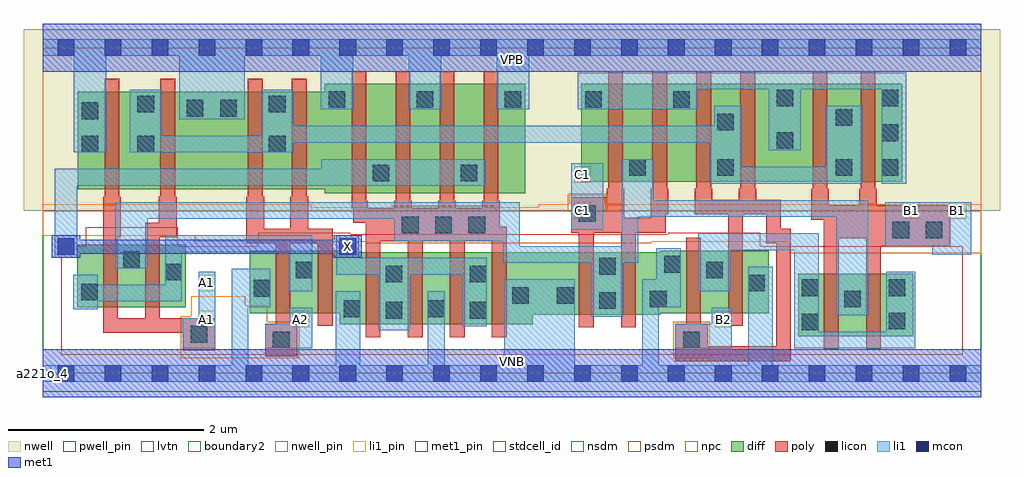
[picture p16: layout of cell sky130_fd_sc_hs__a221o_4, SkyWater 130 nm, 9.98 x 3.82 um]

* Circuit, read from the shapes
.subckt sky130_fd_sc_hs__a221o_4 A1 A2 B1 B2 C1 VGND VNB VPB VPWR X
XM1 n1 A1 n2 VNB sky130_fd_pr__nfet_01v8_lvt w=0.64 l=0.15 m=2
XM2 n2 A2 VGND VNB sky130_fd_pr__nfet_01v8_lvt w=0.64 l=0.15 m=2
XM3 X n1 VGND VNB sky130_fd_pr__nfet_01v8_lvt w=0.74 l=0.15 m=4
XM4 n1 C1 VGND VNB sky130_fd_pr__nfet_01v8_lvt w=0.64 l=0.15 m=2
XM5 n3 B2 VGND VNB sky130_fd_pr__nfet_01v8_lvt w=0.64 l=0.15 m=2
XM6 n1 B1 n3 VNB sky130_fd_pr__nfet_01v8_lvt w=0.64 l=0.15 m=2
XM7 n4 A1 VPWR VPB sky130_fd_pr__pfet_01v8 w=1 l=0.15 m=2
XM8 n4 A2 VPWR VPB sky130_fd_pr__pfet_01v8 w=1 l=0.15 m=2
XM9 X n1 VPWR VPB sky130_fd_pr__pfet_01v8 w=1.12 l=0.15 m=4
XM10 n1 C1 n5 VPB sky130_fd_pr__pfet_01v8 w=1 l=0.15 m=2
XM11 n4 B2 n5 VPB sky130_fd_pr__pfet_01v8 w=1 l=0.15 m=2
XM12 n4 B1 n5 VPB sky130_fd_pr__pfet_01v8 w=1 l=0.15 m=2
.ends

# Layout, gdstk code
import gdstk
lib = gdstk.Library(unit=1e-6, precision=1e-09)
def R(c, l, rs):  # rectangles x0, y0, x1, y1
    for r in rs: c.add(gdstk.rectangle(r[:2], r[2:], *l))
def A(c, l, x, y, w, h, nx, ny, dx, dy):  # array of equal rectangles
    R(c, l, [(x+i*dx, y+j*dy, x+i*dx+w, y+j*dy+h) for i in range(nx) for j in range(ny)])
def P(c, l, *ps):  # polygons
    for p in ps: c.add(gdstk.Polygon(p, *l))
nwell_pin = (64, 16)
nwell = (64, 20)
diff = (65, 20)
poly = (66, 20)
licon = (66, 44)
li1_pin = (67, 16)
li1 = (67, 20)
mcon = (67, 44)
met1_pin = (68, 16)
met1 = (68, 20)
stdcell_id = (81, 4)
nsdm = (93, 44)
psdm = (94, 20)
npc = (95, 20)
pwell_pin = (122, 16)
lvtn = (125, 44)
boundary2 = (236, 0)

sky130_fd_sc_hs__a221o_4 = lib.new_cell('sky130_fd_sc_hs__a221o_4')
R(sky130_fd_sc_hs__a221o_4, nwell_pin, [(0,3.085,9.6,3.33)])
R(sky130_fd_sc_hs__a221o_4, nwell, [(-0.19,1.66,9.79,3.52)])
R(sky130_fd_sc_hs__a221o_4, diff, [(7.725,0.38,8.905,1.02), (0.355,0.675,1.465,1.315), (5.51,1.96,8.79,2.96)])
P(sky130_fd_sc_hs__a221o_4, diff, [(4.935,2.96),(2.885,2.96),(2.885,2.88),(0.36,2.88),(0.36,1.88),(2.885,1.88),(2.885,1.84),(4.935,1.84)],
  [(7.425,1.255),(6.315,1.255),(6.315,1.24),(3.215,1.24),(3.215,1.255),(2.12,1.255),(2.12,0.615),(3.04,0.615),(3.04,0.5),(5.01,0.5),(5.01,0.6),(6.315,0.6),(6.315,0.615),(7.425,0.615)])
P(sky130_fd_sc_hs__a221o_4, poly, [(1.765,0.565),(1.2,0.565),(1.2,1.39),(1.37,1.39),(1.37,1.805),(1.355,1.805),(1.355,3.01),(1.205,3.01),(1.205,1.805),(1.19,1.805),(1.19,1.54),(1.05,1.54),(1.05,0.565),(0.77,0.565),(0.77,1.39),(0.8,1.39),(0.8,1.805),(0.785,1.805),(0.785,3.01),(0.635,3.01),(0.635,1.805),(0.62,1.805),(0.62,0.415),(1.435,0.415),(1.435,0.235),(1.765,0.235)],
  [(2.965,1.48),(2.715,1.48),(2.715,1.805),(2.7,1.805),(2.7,3.01),(2.55,3.01),(2.55,1.805),(2.535,1.805),(2.535,1.48),(2.265,1.48),(2.265,1.805),(2.25,1.805),(2.25,3.01),(2.1,3.01),(2.1,1.805),(2.085,1.805),(2.085,1.33),(2.385,1.33),(2.385,0.505),(2.275,0.505),(2.275,0.175),(2.605,0.175),(2.605,0.505),(2.535,0.505),(2.535,1.33),(2.815,1.33),(2.815,0.485),(2.965,0.485)],
  [(9.28,1.72),(8.53,1.72),(8.53,1.885),(8.515,1.885),(8.515,3.09),(8.365,3.09),(8.365,1.885),(8.35,1.885),(8.35,1.72),(8.04,1.72),(8.04,1.885),(8.025,1.885),(8.025,3.09),(7.875,3.09),(7.875,1.885),(7.86,1.885),(7.86,1.57),(7.99,1.57),(7.99,0.25),(8.14,0.25),(8.14,1.38),(8.42,1.38),(8.42,0.25),(8.57,0.25),(8.57,1.3),(9.28,1.3)],
  [(7.65,1.48),(7.55,1.48),(7.55,1.775),(7.3,1.775),(7.3,1.885),(7.285,1.885),(7.285,3.09),(7.135,3.09),(7.135,1.885),(7.12,1.885),(7.12,1.775),(6.85,1.775),(6.85,1.885),(6.835,1.885),(6.835,3.09),(6.685,3.09),(6.685,1.885),(6.67,1.885),(6.67,1.625),(7.01,1.625),(7.01,0.485),(7.16,0.485),(7.16,1.625),(7.4,1.625),(7.4,1.33),(7.5,1.33),(7.5,0.275),(6.8,0.275),(6.8,0.505),(6.73,0.505),(6.73,1.385),(6.58,1.385),(6.58,0.505),(6.47,0.505),(6.47,0.125),(7.65,0.125)],
  [(6.4,1.885),(6.385,1.885),(6.385,3.09),(6.235,3.09),(6.235,1.885),(6.22,1.885),(6.22,1.59),(5.95,1.59),(5.95,1.885),(5.935,1.885),(5.935,3.09),(5.785,3.09),(5.785,1.885),(5.77,1.885),(5.77,1.8),(5.405,1.8),(5.405,1.44),(5.485,1.44),(5.485,0.47),(5.635,0.47),(5.635,1.44),(5.915,1.44),(5.915,0.47),(6.065,0.47),(6.065,1.44),(6.37,1.44),(6.37,1.625),(6.4,1.625)],
  [(4.745,1.5),(4.675,1.5),(4.675,1.765),(4.66,1.765),(4.66,3.09),(4.51,3.09),(4.51,1.765),(4.495,1.765),(4.495,1.69),(4.225,1.69),(4.225,1.765),(4.21,1.765),(4.21,3.09),(4.06,3.09),(4.06,1.765),(4.045,1.765),(4.045,1.69),(3.775,1.69),(3.775,1.765),(3.76,1.765),(3.76,3.09),(3.61,3.09),(3.61,1.765),(3.595,1.765),(3.595,1.69),(3.325,1.69),(3.325,1.765),(3.31,1.765),(3.31,3.09),(3.16,3.09),(3.16,1.69),(3.175,1.69),(3.175,1.54),(3.305,1.54),(3.305,0.37),(3.455,0.37),(3.455,1.35),(3.735,1.35),(3.735,0.37),(3.885,0.37),(3.885,1.35),(4.165,1.35),(4.165,0.37),(4.315,0.37),(4.315,1.35),(4.595,1.35),(4.595,0.37),(4.745,0.37)])
A(sky130_fd_sc_hs__a221o_4, licon, 3.675, 1.43, 0.17, 0.17, 3, 1, 0.34, 0)
A(sky130_fd_sc_hs__a221o_4, licon, 8.58, 2.02, 0.17, 0.17, 1, 3, 0, 0.355)
A(sky130_fd_sc_hs__a221o_4, licon, 2.925, 2.715, 0.17, 0.17, 3, 1, 0.9, 0)
R(sky130_fd_sc_hs__a221o_4, licon, [(2.355,0.255,2.525,0.425), (6.55,0.255,6.72,0.425), (1.515,0.315,1.685,0.485), (7.765,0.44,7.935,0.61), (8.65,0.45,8.82,0.62), (3.51,0.56,3.68,0.73), (4.37,0.56,4.54,0.73), (3.08,0.575,3.25,0.745), (3.94,0.575,4.11,0.745), (5.69,0.66,5.86,0.83), (6.21,0.675,6.38,0.845), (8.195,0.675,8.365,0.845), (4.8,0.71,4.97,0.88), (5.26,0.71,5.43,0.88), (0.395,0.745,0.565,0.915), (2.16,0.785,2.33,0.955), (7.765,0.79,7.935,0.96), (8.65,0.79,8.82,0.96), (7.215,0.84,7.385,1.01), (3.51,0.93,3.68,1.1), (4.37,0.93,4.54,1.1), (1.255,0.95,1.425,1.12), (2.59,0.97,2.76,1.14), (6.785,0.97,6.955,1.14), (5.69,1.01,5.86,1.18), (6.355,1.03,6.525,1.2), (0.825,1.08,0.995,1.25), (8.69,1.38,8.86,1.55), (9.03,1.38,9.2,1.55), (5.485,1.55,5.655,1.72), (3.375,1.965,3.545,2.135), (4.275,1.965,4.445,2.135), (6,2.02,6.17,2.19), (6.9,2.02,7.07,2.19), (8.11,2.02,8.28,2.19), (0.4,2.26,0.57,2.43), (0.97,2.26,1.14,2.43), (2.315,2.26,2.485,2.43), (7.505,2.295,7.675,2.465), (6.9,2.485,7.07,2.655), (8.11,2.53,8.28,2.7), (0.4,2.6,0.57,2.77), (1.475,2.625,1.645,2.795), (1.815,2.625,1.985,2.795), (0.97,2.67,1.14,2.84), (2.315,2.67,2.485,2.84), (5.55,2.715,5.72,2.885), (6.45,2.715,6.62,2.885), (7.505,2.73,7.675,2.9)])
R(sky130_fd_sc_hs__a221o_4, li1_pin, [(1.595,0.47,1.765,0.64), (2.555,0.47,2.725,0.64), (6.875,0.47,7.045,0.64), (1.595,0.84,1.765,1.01), (5.435,1.58,5.605,1.75), (8.795,1.58,8.965,1.75), (9.275,1.58,9.445,1.75), (5.435,1.95,5.605,2.12)])
R(sky130_fd_sc_hs__a221o_4, li1, [(5.405,1.47,5.735,2.15)])
P(sky130_fd_sc_hs__a221o_4, li1, [(0.32,2.26),(0.32,3.245),(0,3.245),(0,3.415),(9.6,3.415),(9.6,3.245),(4.975,3.245),(4.975,2.7),(4.645,2.7),(4.645,3.245),(4.075,3.245),(4.075,2.7),(3.745,2.7),(3.745,3.245),(3.175,3.245),(3.175,2.7),(2.845,2.7),(2.845,3.245),(2.065,3.245),(2.065,2.6),(1.395,2.6),(1.395,3.245),(0.65,3.245),(0.65,2.26)],
  [(6.13,0.085),(6.13,0.96),(6.275,0.96),(6.275,1.28),(6.525,1.28),(6.525,0.675),(6.3,0.675),(6.3,0.085),(7.215,0.085),(7.215,1.09),(7.465,1.09),(7.465,0.085),(9.6,0.085),(9.6,-0.085),(0,-0.085),(0,0.085),(1.935,0.085),(1.935,1.07),(2.33,1.07),(2.33,0.675),(2.105,0.675),(2.105,0.085),(3,0.085),(3,0.84),(3.25,0.84),(3.25,0.085),(3.94,0.085),(3.94,0.84),(4.11,0.84),(4.11,0.085),(4.72,0.085),(4.72,0.96),(5.44,0.96),(5.44,0.085)],
  [(3.43,0.44),(3.43,1.01),(3.005,1.01),(3.005,1.41),(3.235,1.41),(3.235,1.18),(4.54,1.18),(4.54,0.48),(4.29,0.48),(4.29,1.01),(3.76,1.01),(3.76,0.44)],
  [(5.92,2.19),(6.25,2.19),(6.25,1.77),(8.445,1.77),(8.445,0.595),(8.115,0.595),(8.115,1.6),(6.09,1.6),(6.09,1.13),(5.94,1.13),(5.94,0.58),(5.61,0.58),(5.61,1.13),(4.71,1.13),(4.71,1.35),(3.595,1.35),(3.595,1.58),(1.075,1.58),(1.075,1.075),(0.745,1.075),(0.745,1.75),(4.88,1.75),(4.88,1.3),(5.92,1.3)],
  [(9.495,1.75),(8.615,1.75),(8.615,1.3),(9.095,1.3),(9.095,1.21),(9.495,1.21)],
  [(2.275,0.255),(2.275,0.505),(2.525,0.505),(2.525,0.67),(2.755,0.67),(2.755,0.255)],
  [(4.525,2.19),(2.85,2.19),(2.85,2.09),(0.125,2.09),(0.125,1.18),(0.355,1.18),(0.355,1.92),(4.525,1.92)],
  [(8.83,3.075),(5.47,3.075),(5.47,2.7),(6.7,2.7),(6.7,2.905),(7.425,2.905),(7.425,2.28),(7.755,2.28),(7.755,2.905),(8.58,2.905),(8.58,1.94),(8.83,1.94)],
  [(8.38,2.735),(8.01,2.735),(8.01,2.11),(7.15,2.11),(7.15,2.735),(6.87,2.735),(6.87,2.53),(2.565,2.53),(2.565,2.9),(2.235,2.9),(2.235,2.43),(1.22,2.43),(1.22,2.9),(0.89,2.9),(0.89,2.26),(2.565,2.26),(2.565,2.36),(6.82,2.36),(6.82,1.94),(8.38,1.94)],
  [(8.625,0.425),(8.625,1.04),(8.925,1.04),(8.925,0.255),(7.685,0.255),(7.685,1.26),(7.035,1.26),(7.035,0.84),(6.705,0.84),(6.705,1.43),(7.935,1.43),(7.935,0.425)],
  [(0.315,0.655),(0.315,1.01),(0.565,1.01),(0.565,0.905),(1.255,0.905),(1.255,1.41),(2.76,1.41),(2.76,0.84),(2.51,0.84),(2.51,1.24),(1.425,1.24),(1.425,0.735),(0.565,0.735),(0.565,0.655)],
  [(6.47,0.255),(6.47,0.505),(6.845,0.505),(6.845,0.67),(7.045,0.67),(7.045,0.255)],
  [(1.435,0.255),(1.435,0.565),(1.595,0.565),(1.595,1.04),(1.765,1.04),(1.765,0.255)])
A(sky130_fd_sc_hs__a221o_4, mcon, 0.155, -0.085, 0.17, 0.17, 20, 2, 0.48, 3.33)
R(sky130_fd_sc_hs__a221o_4, mcon, [(0.155,1.21,0.325,1.38), (3.035,1.21,3.205,1.38)])
R(sky130_fd_sc_hs__a221o_4, met1_pin, [(0,0,9.6,0.245), (3.035,1.21,3.205,1.38), (0,3.085,9.6,3.33)])
R(sky130_fd_sc_hs__a221o_4, met1, [(0,-0.245,9.6,0.245), (0,3.085,9.6,3.575)])
P(sky130_fd_sc_hs__a221o_4, met1, [(2.975,1.18),(2.975,1.225),(0.385,1.225),(0.385,1.18),(0.095,1.18),(0.095,1.41),(0.385,1.41),(0.385,1.365),(2.975,1.365),(2.975,1.41),(3.265,1.41),(3.265,1.18)])
R(sky130_fd_sc_hs__a221o_4, stdcell_id, [(0,0,9.6,3.33)])
R(sky130_fd_sc_hs__a221o_4, nsdm, [(0,-0.19,9.6,1.66)])
P(sky130_fd_sc_hs__a221o_4, psdm, [(9.6,3.52),(0,3.52),(0,1.66),(3.565,1.66),(3.565,1.71),(4.635,1.71),(4.635,1.66),(5.375,1.66),(5.375,1.83),(5.765,1.83),(5.765,1.66),(9.6,1.66)])
R(sky130_fd_sc_hs__a221o_4, npc, [(6.45,0.155,6.82,0.525), (7.635,1.23,9.6,1.73)])
P(sky130_fd_sc_hs__a221o_4, npc, [(7.635,1.73),(5.755,1.73),(5.755,1.82),(5.385,1.82),(5.385,1.73),(5.075,1.73),(5.075,1.7),(2.745,1.7),(2.745,1.73),(0,1.73),(0,1.405),(1.555,1.405),(1.555,1.345),(3.305,1.345),(3.305,1.33),(6.225,1.33),(6.225,1.345),(7.635,1.345)],
  [(2.625,0.525),(2.295,0.525),(2.295,0.695),(2.07,0.695),(2.07,0.79),(1.52,0.79),(1.52,0.585),(1.415,0.585),(1.415,0.155),(2.625,0.155)])
R(sky130_fd_sc_hs__a221o_4, pwell_pin, [(0,0,9.6,0.245)])
P(sky130_fd_sc_hs__a221o_4, lvtn, [(9.41,1.3),(7.34,1.3),(7.34,1.435),(6.4,1.435),(6.4,1.42),(3.145,1.42),(3.145,1.435),(2.205,1.435),(2.205,1.3),(1.38,1.3),(1.38,1.495),(0.44,1.495),(0.44,1.3),(0.19,1.3),(0.19,0.19),(9.41,0.19)])
R(sky130_fd_sc_hs__a221o_4, boundary2, [(0,0,9.6,3.33)])
sky130_fd_sc_hs__a221o_4.add(gdstk.Label('a221o_4', (0,0), layer=83, texttype=44))
sky130_fd_sc_hs__a221o_4.add(gdstk.Label('VNB', (4.8,0.123), layer=64, texttype=59))
sky130_fd_sc_hs__a221o_4.add(gdstk.Label('VPB', (4.8,3.208), layer=64, texttype=5))
sky130_fd_sc_hs__a221o_4.add(gdstk.Label('X', (3.12,1.295), layer=68, texttype=5))
sky130_fd_sc_hs__a221o_4.add(gdstk.Label('VPWR', (4.8,3.208), layer=68, texttype=5))
sky130_fd_sc_hs__a221o_4.add(gdstk.Label('VGND', (4.8,0.123), layer=68, texttype=5))
sky130_fd_sc_hs__a221o_4.add(gdstk.Label('C1', (5.52,1.665), layer=67, texttype=5))
sky130_fd_sc_hs__a221o_4.add(gdstk.Label('C1', (5.52,2.035), layer=67, texttype=5))
sky130_fd_sc_hs__a221o_4.add(gdstk.Label('B1', (8.88,1.665), layer=67, texttype=5))
sky130_fd_sc_hs__a221o_4.add(gdstk.Label('B1', (9.36,1.665), layer=67, texttype=5))
sky130_fd_sc_hs__a221o_4.add(gdstk.Label('A2', (2.64,0.555), layer=67, texttype=5))
sky130_fd_sc_hs__a221o_4.add(gdstk.Label('B2', (6.96,0.555), layer=67, texttype=5))
sky130_fd_sc_hs__a221o_4.add(gdstk.Label('A1', (1.68,0.555), layer=67, texttype=5))
sky130_fd_sc_hs__a221o_4.add(gdstk.Label('A1', (1.68,0.925), layer=67, texttype=5))

lib.write_gds('sky130_fd_sc_hs__a221o_4.gds')
